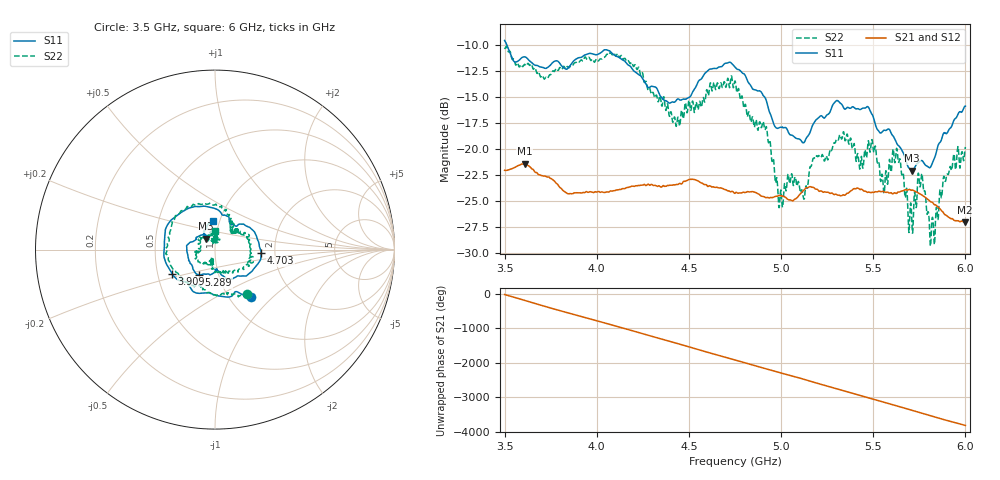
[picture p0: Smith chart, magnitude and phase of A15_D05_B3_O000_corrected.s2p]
! Created with skrf 1.9.0 (http://scikit-rf.org).
# Hz S RI R 50.0
!freq ReS11 ImS11 ReS21 ImS21 ReS12 ImS12 ReS22 ImS22
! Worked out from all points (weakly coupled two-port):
!   1601 points, 3.5 GHz to 6 GHz, reference 50 ohm
!   highest |S21| = -21.42 dB at 3.609 GHz (marker M1); lowest = -27.0 dB at 5.995 GHz (marker M2)
!   lowest |S11| = -22.1 dB at 5.711 GHz (marker M3), VSWR 1.17, Z = 45 + j5.58 ohm
!   |S11| at or under -10 dB: 3.511 GHz to end of sweep
!   |S22| runs from -29.3 to -10.2 dB; largest |S21 - S12| = 0.00092
!   S11 on the Smith chart (normalised r, x): 3.5 GHz: 1.26, -0.74; 3.909 GHz: 0.60, -0.17; 4.703 GHz: 1.69, -0.08; 5.289 GHz: 0.81, -0.23; 6 GHz: 0.93, +0.31
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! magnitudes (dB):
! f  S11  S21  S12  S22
! 3.5 GHz  -9.6  -22.0  -22.0  -10.3
! 3.609 GHz  -11.2  -21.4  -21.4  -11.9
! 3.909 GHz  -11.2  -24.2  -24.2  -11.6
! 3.917 GHz  -11.2  -24.2  -24.2  -11.5
! 4.123 GHz  -11.3  -23.9  -23.9  -11.2
! 4.334 GHz  -14.5  -23.5  -23.5  -15.5
! 4.441 GHz  -15.2  -23.4  -23.4  -17.0
! 4.703 GHz  -11.8  -23.9  -23.9  -13.9
! 4.75 GHz  -12.2  -24.2  -24.2  -13.5
! 4.912 GHz  -15.1  -24.6  -24.6  -18.2
! 4.998 GHz  -17.9  -24.5  -24.5  -23.9
! 5.13 GHz  -19.2  -23.8  -23.8  -24.2
! 5.167 GHz  -17.9  -23.7  -23.6  -21.4
! 5.289 GHz  -15.6  -24.4  -24.3  -19.4
! 5.584 GHz  -18.1  -24.2  -24.2  -21.6
! 5.636 GHz  -19.6  -24.1  -24.1  -21.2
! 5.711 GHz  -22.1  -23.9  -23.9  -27.6
! 5.755 GHz  -21.2  -24.3  -24.3  -23.6
! 5.822 GHz  -21.3  -25.1  -25.1  -26.5
! 5.889 GHz  -18.4  -26.3  -26.3  -23.1
! 5.995 GHz  -15.9  -27.0  -26.9  -20.5
! 6 GHz  -15.9  -27.0  -27.0  -19.8
